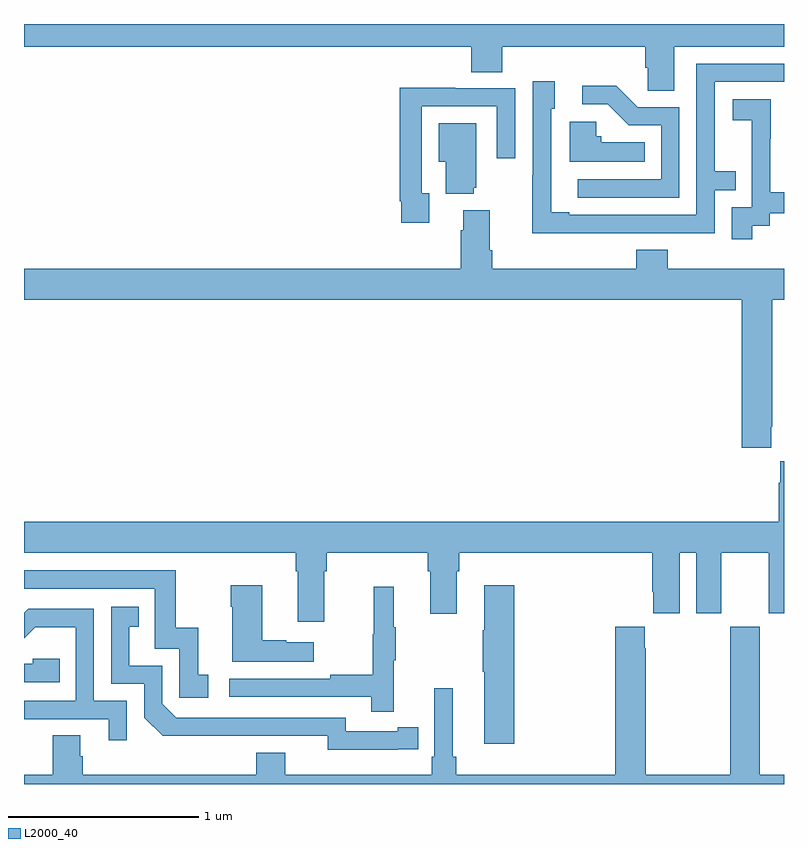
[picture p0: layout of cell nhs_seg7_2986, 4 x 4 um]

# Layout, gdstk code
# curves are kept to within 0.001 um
import gdstk
lib = gdstk.Library(unit=1e-6, precision=1e-09)
def P(c, l, *ps):  # polygons
    for p in ps: c.add(gdstk.Polygon(p, *l))
L2000_40 = (2000, 40)

nhs_seg7_2986 = lib.new_cell('nhs_seg7_2986')
P(nhs_seg7_2986, L2000_40, [(304.423,1069.88),(305,1069.88),(305,1070),(301,1070),(301,1069.88),(303.353,1069.88),(303.353,1069.747),(303.518,1069.747),(303.518,1069.88),(304.271,1069.88),(304.271,1069.771),(304.284,1069.771),(304.284,1069.648),(304.423,1069.648)],
  [(304.139,1068.9),(304.635,1068.9),(304.635,1069.125),(304.745,1069.125),(304.745,1069.226),(304.635,1069.226),(304.635,1069.695),(305,1069.695),(305,1069.791),(304.539,1069.791),(304.539,1068.996),(303.871,1068.996),(303.871,1069.009),(303.774,1069.009),(303.774,1069.554),(303.793,1069.554),(303.793,1069.699),(303.678,1069.699),(303.678,1069.205),(303.676,1069.205),(303.676,1068.899),(304.139,1068.899)],
  [(304.449,1069.563),(304.23,1069.563),(304.117,1069.676),(303.939,1069.676),(303.939,1069.578),(304.073,1069.578),(304.184,1069.467),(304.353,1069.467),(304.353,1069.182),(303.915,1069.182),(303.915,1069.086),(304.449,1069.086)],
  [(303.133,1069.11),(303.093,1069.11),(303.093,1069.566),(303.489,1069.566),(303.489,1069.293),(303.585,1069.293),(303.585,1069.662),(303.269,1069.662),(303.269,1069.664),(302.977,1069.664),(302.977,1069.066),(302.985,1069.066),(302.985,1068.954),(303.133,1068.954)],
  [(304.834,1068.937),(304.926,1068.937),(304.926,1069.005),(305,1069.005),(305,1069.114),(304.928,1069.114),(304.928,1069.397),(304.929,1069.397),(304.929,1069.603),(304.731,1069.603),(304.731,1069.493),(304.829,1069.493),(304.829,1069.265),(304.83,1069.265),(304.83,1069.035),(304.725,1069.035),(304.725,1068.867),(304.834,1068.867)],
  [(304.268,1069.378),(304.038,1069.378),(304.038,1069.41),(304.011,1069.41),(304.011,1069.486),(303.872,1069.486),(303.872,1069.274),(304.268,1069.274)],
  [(303.368,1069.137),(303.379,1069.137),(303.379,1069.477),(303.182,1069.477),(303.182,1069.274),(303.221,1069.274),(303.221,1069.106),(303.368,1069.106)],
  [(304.933,1067.881),(304.938,1067.881),(304.938,1068.548),(305,1068.548),(305,1068.712),(304.388,1068.712),(304.388,1068.811),(304.223,1068.811),(304.223,1068.712),(303.464,1068.712),(303.464,1068.808),(303.451,1068.808),(303.451,1069.021),(303.311,1069.021),(303.311,1068.914),(303.299,1068.914),(303.299,1068.712),(301,1068.712),(301,1068.548),(304.778,1068.548),(304.778,1067.769),(304.933,1067.769)],
  [(302.581,1067.12),(302.594,1067.12),(302.594,1067.216),(303.125,1067.216),(303.125,1067.12),(303.137,1067.12),(303.137,1066.896),(303.277,1066.896),(303.277,1067.12),(303.29,1067.12),(303.29,1067.216),(304.307,1067.216),(304.307,1067.011),(304.313,1067.011),(304.313,1066.899),(304.45,1066.899),(304.45,1067.216),(304.538,1067.216),(304.538,1066.899),(304.669,1066.899),(304.669,1067.216),(304.919,1067.216),(304.919,1066.899),(305,1066.899),(305,1067.698),(304.979,1067.698),(304.979,1067.585),(304.973,1067.585),(304.973,1067.38),(301,1067.38),(301,1067.216),(302.429,1067.216),(302.429,1067.12),(302.441,1067.12),(302.441,1066.854),(302.581,1066.854)],
  [(301.969,1066.575),(301.916,1066.575),(301.916,1066.822),(301.798,1066.822),(301.798,1067.124),(301,1067.124),(301,1067.028),(301.689,1067.028),(301.689,1066.713),(301.818,1066.713),(301.818,1066.455),(301.969,1066.455)],
  [(303.581,1067.047),(303.422,1067.047),(303.422,1066.808),(303.415,1066.808),(303.415,1066.591),(303.422,1066.591),(303.422,1066.212),(303.581,1066.212)],
  [(302.524,1066.747),(302.381,1066.747),(302.381,1066.757),(302.254,1066.757),(302.254,1067.047),(302.089,1067.047),(302.089,1066.934),(302.096,1066.934),(302.096,1066.643),(302.524,1066.643)],
  [(302.945,1066.651),(302.956,1066.651),(302.956,1066.825),(302.945,1066.825),(302.945,1067.038),(302.842,1067.038),(302.842,1066.788),(302.835,1066.788),(302.835,1066.574),(302.611,1066.574),(302.611,1066.554),(302.079,1066.554),(302.079,1066.458),(302.827,1066.458),(302.827,1066.38),(302.945,1066.38)],
  [(302.966,1066.182),(303.074,1066.182),(303.074,1066.298),(302.966,1066.298),(302.966,1066.278),(302.694,1066.278),(302.694,1066.35),(301.8,1066.35),(301.728,1066.422),(301.728,1066.623),(301.555,1066.623),(301.555,1066.827),(301.604,1066.827),(301.604,1066.933),(301.458,1066.933),(301.458,1066.527),(301.632,1066.527),(301.632,1066.35),(301.73,1066.253),(302.598,1066.254),(302.598,1066.181)],
  [(301.542,1066.437),(301.368,1066.437),(301.368,1066.923),(301.022,1066.923),(301,1066.901),(301,1066.768),(301.058,1066.826),(301.272,1066.826),(301.272,1066.437),(301,1066.437),(301,1066.341),(301.445,1066.341),(301.445,1066.23),(301.542,1066.23)],
  [(305,1066.048),(304.872,1066.048),(304.872,1066.828),(304.717,1066.828),(304.717,1066.048),(304.272,1066.048),(304.272,1066.715),(304.267,1066.715),(304.267,1066.828),(304.112,1066.828),(304.112,1066.048),(303.275,1066.048),(303.275,1066.144),(303.256,1066.144),(303.256,1066.504),(303.159,1066.504),(303.159,1066.144),(303.146,1066.144),(303.146,1066.048),(302.374,1066.048),(302.374,1066.165),(302.222,1066.165),(302.222,1066.048),(301.31,1066.048),(301.31,1066.146),(301.297,1066.146),(301.297,1066.256),(301.15,1066.256),(301.15,1066.048),(301,1066.048),(301,1066),(305,1066)],
  [(301.187,1066.659),(301.047,1066.659),(301.047,1066.632),(301,1066.632),(301,1066.536),(301.187,1066.536)])

lib.write_gds('nhs_seg7_2986.gds')
